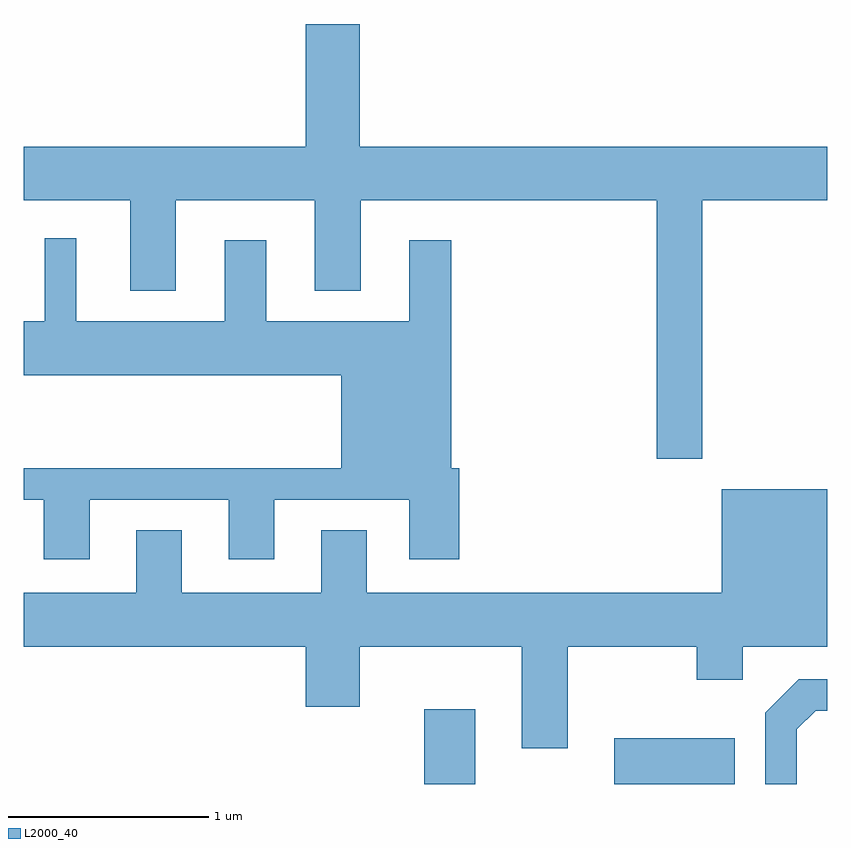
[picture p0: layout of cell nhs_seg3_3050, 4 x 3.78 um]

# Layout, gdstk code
import gdstk
lib = gdstk.Library(unit=1e-6, precision=1e-09)
def R(c, l, rs):  # rectangles x0, y0, x1, y1
    for r in rs: c.add(gdstk.rectangle(r[:2], r[2:], *l))
def P(c, l, *ps):  # polygons
    for p in ps: c.add(gdstk.Polygon(p, *l))
L2000_40 = (2000, 40)

nhs_seg3_3050 = lib.new_cell('nhs_seg3_3050')
R(nhs_seg3_3050, L2000_40, [(275.606,1231.892,275.859,1232.264), (276.551,1231.892,277.149,1232.119)])
P(nhs_seg3_3050, L2000_40, [(276.989,1234.796),(277.611,1234.796),(277.611,1235.064),(275.284,1235.064),(275.284,1235.674),(275.016,1235.674),(275.016,1235.064),(273.611,1235.064),(273.611,1234.796),(274.141,1234.796),(274.141,1234.346),(274.369,1234.346),(274.369,1234.796),(275.061,1234.796),(275.061,1234.346),(275.289,1234.346),(275.289,1234.796),(276.761,1234.796),(276.761,1233.511),(276.989,1233.511)],
  [(273.939,1233.306),(274.631,1233.306),(274.631,1233.011),(274.859,1233.011),(274.859,1233.306),(275.531,1233.306),(275.531,1233.011),(275.779,1233.011),(275.779,1233.464),(275.739,1233.464),(275.739,1234.599),(275.531,1234.599),(275.531,1234.194),(274.819,1234.194),(274.819,1234.599),(274.611,1234.599),(274.611,1234.194),(273.874,1234.194),(273.874,1234.608),(273.716,1234.608),(273.716,1234.194),(273.611,1234.194),(273.611,1233.926),(275.191,1233.926),(275.191,1233.464),(273.611,1233.464),(273.611,1233.306),(273.711,1233.306),(273.711,1233.011),(273.939,1233.011)],
  [(276.319,1232.576),(276.961,1232.576),(276.961,1232.411),(277.189,1232.411),(277.189,1232.576),(277.611,1232.576),(277.611,1233.359),(277.086,1233.359),(277.086,1232.844),(275.319,1232.844),(275.319,1233.154),(275.091,1233.154),(275.091,1232.844),(274.399,1232.844),(274.399,1233.154),(274.171,1233.154),(274.171,1232.844),(273.611,1232.844),(273.611,1232.576),(275.016,1232.576),(275.016,1232.276),(275.284,1232.276),(275.284,1232.576),(276.091,1232.576),(276.091,1232.071),(276.319,1232.071)],
  [(277.459,1232.164),(277.552,1232.256),(277.611,1232.256),(277.611,1232.414),(277.469,1232.414),(277.301,1232.247),(277.301,1231.892),(277.459,1231.892)])

lib.write_gds('nhs_seg3_3050.gds')
